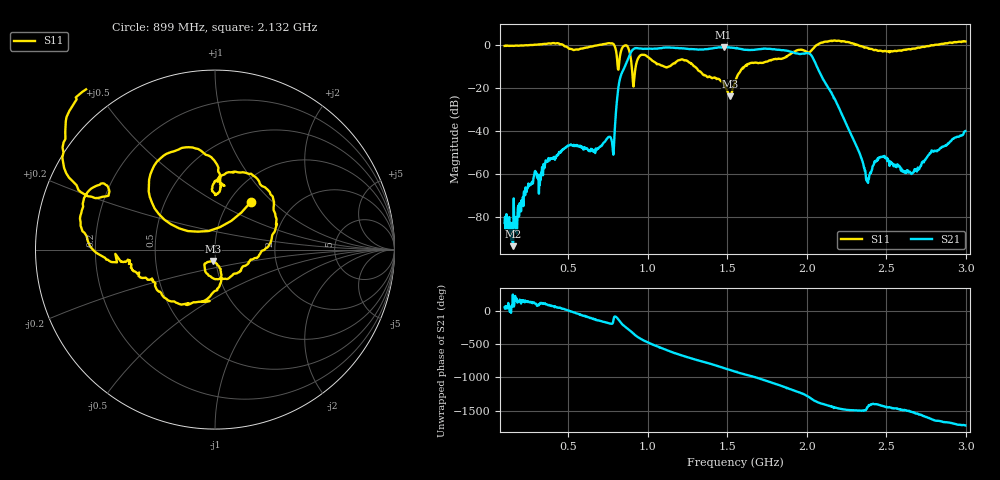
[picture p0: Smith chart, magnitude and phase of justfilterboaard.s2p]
# HZ S RI R 50
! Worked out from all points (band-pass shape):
!   1009 points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, 100 MHz to 2.997 GHz, reference 50 ohm
!   highest |S21| = -0.97 dB at 1.477 GHz (marker M1); lowest = -93.3 dB at 151.7 MHz (marker M2)
!   |S21| within 3 dB of the highest: 889.8 MHz to 1.945 GHz (1.055 GHz wide, 74.4 % of centre); 1.986 GHz to 2.016 GHz (30.26 MHz wide, 1.51 % of centre) (the widest 2 of 4)
!   lowest |S11| = -23.8 dB at 1.52 GHz (marker M3), VSWR 1.14, Z = 48.5 - j6.19 ohm
!   |S11| at or under -10 dB: 899.6 MHz to 924.2 MHz (24.63 MHz wide, 2.7 % of centre); 1.104 GHz to 1.131 GHz (26.97 MHz wide, 2.41 % of centre); 1.295 GHz to 1.609 GHz (313.5 MHz wide, 21.6 % of centre) (the widest 3 of 4)
!   S12 and S22 are empty: the file has one direction only
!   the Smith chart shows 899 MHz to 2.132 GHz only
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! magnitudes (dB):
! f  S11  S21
! 100 MHz  -0.4  -82.5
! 151.7 MHz  -0.3  -93.3
! 370.2 MHz  0.7  -54.2
! 582.9 MHz  -1.6  -46.9
! 775.4 MHz  0.8  -45.1
! 824.3 MHz  -5.6  -15.9
! 855.9 MHz  -0.2  -10.0
! 887.5 MHz  -3.7  -4.3
! 913.4 MHz  -17.2  -1.7
! 959.4 MHz  -4.6  -1.6
! 1.066 GHz  -8.8  -1.5
! 1.235 GHz  -7.0  -1.6
! 1.477 GHz  -17.8  -1.0
! 1.52 GHz  -23.8  -1.2
! 1.549 GHz  -17.3  -1.4
! 1.641 GHz  -8.5  -2.3
! 2.031 GHz  -2.3  -5.1
! 2.379 GHz  -1.3  -63.2
! 2.451 GHz  -2.7  -52.3
! 2.514 GHz  -2.9  -53.6
! 2.661 GHz  -1.7  -59.7
! 2.997 GHz  1.7  -39.9
